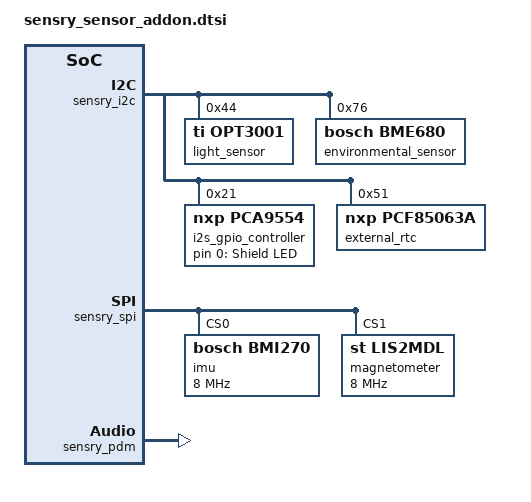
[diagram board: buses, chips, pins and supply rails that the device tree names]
/*
 * Copyright (c) 2026 Sensry GmbH
 * SPDX-License-Identifier: Apache-2.0
 */

/ {
	sensry-leds {
		compatible = "gpio-leds";

		shield_led: shield-led {
			gpios = <&i2s_gpio_controller 0 GPIO_ACTIVE_HIGH>;
			label = "Shield LED";
		};
	};
};

&sensry_i2c {
	light_sensor: opt3002@44 {
		compatible = "ti,opt3001";
		status = "okay";
		reg = <0x44>;
		label = "light_sensor";
	};

	environmental_sensor: bme680@76 {
		compatible = "bosch,bme680";
		status = "okay";
		reg = <0x76>;
		label = "environmental_sensor";
	};

	i2s_gpio_controller: gpio@21 {
		compatible = "nxp,pca9554";
		no-auto-reset;
		reg = <0x21>;
		gpio-controller;
		#gpio-cells = <2>;
		ngpios = <8>;
	};

	external_rtc: rtc@51 {
		status = "okay";
		compatible = "nxp,pcf85063a";
		reg = <0x51>;
	};
};

&sensry_spi {
	imu: imu@0 {
		compatible = "bosch,bmi270";
		status = "okay";
		reg = <0>;
		spi-max-frequency = <8000000>;
		label = "imu";
		spi-cpol;
		spi-cpha;
	};

	magnetometer: lis2mdl@1 {
		status = "okay";
		compatible = "st,lis2mdl";
		reg = <1>;
		spi-max-frequency = <8000000>;
		label = "magnetometer";
	};
};

microphone: &sensry_pdm {
	status = "okay";
};
